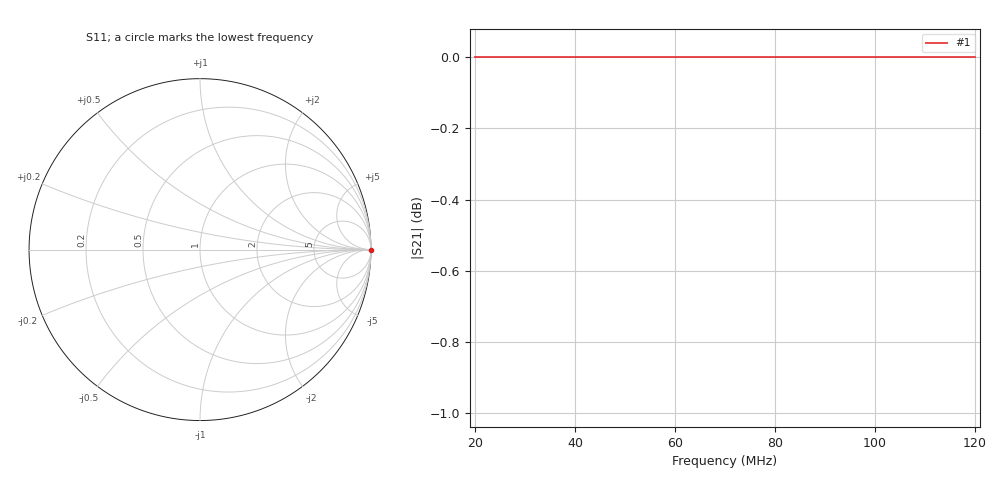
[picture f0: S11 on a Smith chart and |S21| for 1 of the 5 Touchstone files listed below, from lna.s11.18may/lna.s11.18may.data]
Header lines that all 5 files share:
! Anritsu VNA Master:  Model: MS2036C/10/77
! SN:  1601066
! Existing Calibration Information:
! TYPE:  Current Settings,  Active Cal Settings
! # POINTS:  500,  500
! START FREQ:  20.000 MHz,  20.000 MHz
! STOP FREQ:  120.000 MHz,  120.000 MHz
! SOURCE POWER:  Low,  Low
! IFBW:  10 Hz,  10 Hz
! AVG FACTOR:  1 ,  1
! REF PLANE 1:  0 mm,  0 mm
! REF PLANE 2:  0 mm,  0 mm
! CAL TYPE:  Full S22,  Full S22
! CAL METHOD:  SOLT,  SOLT
! CAL LINE TYPE:  Coax,  Coax
! DUT PORT 1:  K-Conn(M),  K-Conn(M)
! DUT PORT 2:  K-Conn(M),  K-Conn(M)
! CAL STATUS:  OK: Accuracy High,  --
# GHZ S DB R 50.0
! FREQ.GHZ  S11DB  S11A  S21DB  S21A  S12DB  S12A  S22DB  S22A
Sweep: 20 MHz to 120 MHz
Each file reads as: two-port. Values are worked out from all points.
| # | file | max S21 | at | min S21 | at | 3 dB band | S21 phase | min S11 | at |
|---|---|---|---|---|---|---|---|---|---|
| 1 | 252a.lna.rl.18may13.s2p | 0.00 dB | 20 MHz | 0.0 dB | 20 MHz | 20 MHz-120 MHz | 0 deg at 70.1 MHz | 0.0 dB | 20 MHz |
| 2 | 254a.lna.rl.18may12.s2p | 0.00 dB | 20 MHz | 0.0 dB | 20 MHz | 20 MHz-120 MHz | 0 deg at 70.1 MHz | 0.0 dB | 20 MHz |
| 3 | 255a.lna.rl.18may13.s2p | 0.00 dB | 20 MHz | 0.0 dB | 20 MHz | 20 MHz-120 MHz | 0 deg at 70.1 MHz | 0.0 dB | 20 MHz |
| 4 | 256a.lna.rl.18may12.s2p | 0.00 dB | 20 MHz | 0.0 dB | 20 MHz | 20 MHz-120 MHz | 0 deg at 70.1 MHz | 0.0 dB | 20 MHz |
| 5 | 256a.lna.rl.18may13.s2p | 0.00 dB | 20 MHz | 0.0 dB | 20 MHz | 20 MHz-120 MHz | 0 deg at 70.1 MHz | 0.0 dB | 20 MHz |
